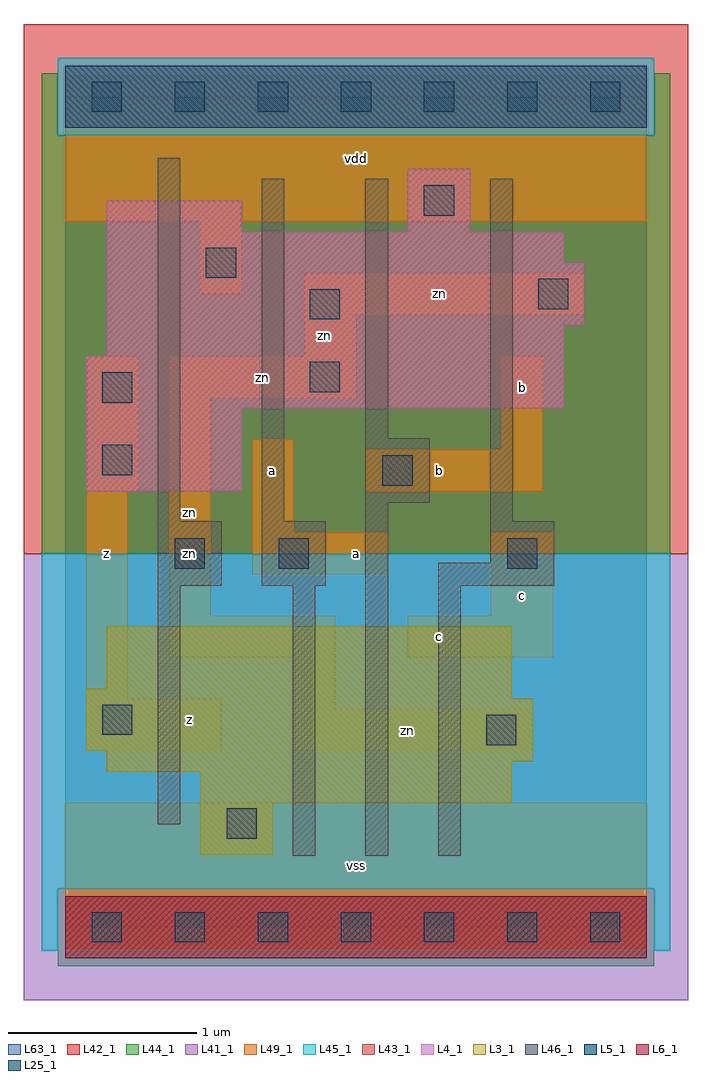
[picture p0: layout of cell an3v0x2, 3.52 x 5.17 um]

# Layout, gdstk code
import gdstk
lib = gdstk.Library(unit=1e-6, precision=1e-09)
def R(c, l, rs):  # rectangles x0, y0, x1, y1
    for r in rs: c.add(gdstk.rectangle(r[:2], r[2:], *l))
def A(c, l, x, y, w, h, nx, ny, dx, dy):  # array of equal rectangles
    R(c, l, [(x+i*dx, y+j*dy, x+i*dx+w, y+j*dy+h) for i in range(nx) for j in range(ny)])
L3_1 = (3, 1)
L4_1 = (4, 1)
L5_1 = (5, 1)
L6_1 = (6, 1)
L25_1 = (25, 1)
L41_1 = (41, 1)
L42_1 = (42, 1)
L43_1 = (43, 1)
L44_1 = (44, 1)
L45_1 = (45, 1)
L46_1 = (46, 1)
L49_1 = (49, 1)
L63_1 = (63, 1)

an3v0x2 = lib.new_cell('an3v0x2')
R(an3v0x2, L3_1, [(0.715,0.385,1.1,0.66), (0.715,0.66,2.365,0.825), (0.22,0.825,2.365,0.88), (0.22,0.88,2.475,0.935), (0.11,0.935,2.475,1.21), (0.11,1.21,2.365,1.265), (0.22,1.265,2.365,1.595)])
R(an3v0x2, L4_1, [(0.11,2.31,0.935,2.75), (0.11,2.75,2.64,3.025), (0.22,3.025,2.64,3.19), (0.22,3.19,2.75,3.52), (0.22,3.52,2.64,3.685), (0.22,3.685,0.935,3.85), (1.815,3.685,2.145,4.015)])
R(an3v0x2, L5_1, [(0,4.235,3.08,4.565)])
R(an3v0x2, L6_1, [(0,-0.165,3.08,0.165)])
A(an3v0x2, L25_1, 0.14, -0.08, 0.16, 0.16, 7, 2, 0.44, 4.4)
R(an3v0x2, L25_1, [(0.855,0.47,1.015,0.63), (2.23,0.965,2.39,1.125), (0.195,1.02,0.355,1.18), (0.58,1.9,0.74,2.06), (1.13,1.9,1.29,2.06), (2.34,1.9,2.5,2.06), (1.68,2.34,1.84,2.5), (0.195,2.395,0.355,2.555), (0.195,2.78,0.355,2.94), (1.295,2.835,1.455,2.995), (1.295,3.22,1.455,3.38), (2.505,3.275,2.665,3.435), (0.745,3.44,0.905,3.6), (1.9,3.77,2.06,3.93)])
R(an3v0x2, L41_1, [(-0.22,-0.385,3.3,1.98)])
R(an3v0x2, L42_1, [(-0.22,1.98,3.3,4.785)])
R(an3v0x2, L43_1, [(0,-0.165,3.08,0.165), (0.715,0.385,1.1,0.66), (0.715,0.66,2.365,0.825), (0.22,0.825,2.365,0.88), (0.22,0.88,2.475,0.935), (0.11,0.935,2.475,1.21), (0.11,1.21,2.365,1.265), (0.22,1.265,2.365,1.595), (0.11,2.31,0.935,2.75), (0.11,2.75,2.64,3.025), (0.22,3.025,2.64,3.19), (0.22,3.19,2.75,3.52), (0.22,3.52,2.64,3.685), (0.22,3.685,0.935,3.85), (1.815,3.685,2.145,4.015), (0,4.235,3.08,4.565)])
R(an3v0x2, L44_1, [(-0.04,-0.205,3.12,0.205), (-0.125,1.98,3.205,4.195), (-0.125,4.195,-0.04,4.525), (3.12,4.195,3.205,4.525)])
R(an3v0x2, L45_1, [(-0.125,-0.125,-0.04,0.205), (3.12,-0.125,3.205,0.205), (-0.125,0.205,3.205,1.98), (-0.04,4.195,3.12,4.605)])
R(an3v0x2, L46_1, [(1.205,0.38,1.325,1.81), (1.59,0.38,1.71,2.25), (1.975,0.38,2.095,1.81), (0.49,0.545,0.61,1.81), (0.49,1.81,0.83,2.15), (1.04,1.81,1.38,2.15), (1.975,1.81,2.59,1.93), (2.25,1.93,2.59,2.15), (0.49,2.15,0.61,4.075), (1.04,2.15,1.16,3.965), (2.25,2.15,2.37,3.965), (1.59,2.25,1.93,2.59), (1.59,2.59,1.71,3.965)])
R(an3v0x2, L49_1, [(0,-0.11,3.08,0.66), (0.11,0.935,0.825,1.21), (1.21,0.935,2.475,1.155), (1.21,1.155,1.43,1.43), (0.11,1.21,0.33,2.31), (0.55,1.43,1.43,1.65), (1.815,1.43,2.585,1.65), (0.55,1.65,0.77,2.805), (2.255,1.65,2.585,2.09), (0.99,1.87,1.705,2.09), (0.99,2.09,1.21,2.585), (0.11,2.31,0.385,3.025), (1.595,2.31,2.53,2.53), (2.31,2.53,2.53,3.025), (0.55,2.805,1.54,3.025), (1.265,3.025,1.54,3.245), (1.265,3.245,2.75,3.465), (0.715,3.355,0.935,3.74), (0,3.74,3.08,4.51)])
R(an3v0x2, L63_1, [(0,0,3.08,4.4)])
an3v0x2.add(gdstk.Label('zn', (0.66,1.98), layer=49, texttype=1))
an3v0x2.add(gdstk.Label('z', (0.22,1.98), layer=49, texttype=1))
an3v0x2.add(gdstk.Label('z', (0.66,1.1), layer=49, texttype=1))
an3v0x2.add(gdstk.Label('a', (1.1,2.42), layer=49, texttype=1))
an3v0x2.add(gdstk.Label('zn', (0.66,2.2), layer=49, texttype=1))
an3v0x2.add(gdstk.Label('vss', (1.54,0.33), layer=49, texttype=1))
an3v0x2.add(gdstk.Label('a', (1.54,1.98), layer=49, texttype=1))
an3v0x2.add(gdstk.Label('c', (1.98,1.54), layer=49, texttype=1))
an3v0x2.add(gdstk.Label('b', (1.98,2.42), layer=49, texttype=1))
an3v0x2.add(gdstk.Label('zn', (1.045,2.915), layer=49, texttype=1))
an3v0x2.add(gdstk.Label('zn', (1.375,3.135), layer=49, texttype=1))
an3v0x2.add(gdstk.Label('vdd', (1.54,4.07), layer=49, texttype=1))
an3v0x2.add(gdstk.Label('zn', (1.815,1.045), layer=49, texttype=1))
an3v0x2.add(gdstk.Label('c', (2.42,1.76), layer=49, texttype=1))
an3v0x2.add(gdstk.Label('b', (2.42,2.86), layer=49, texttype=1))
an3v0x2.add(gdstk.Label('zn', (1.98,3.355), layer=49, texttype=1))

lib.write_gds('an3v0x2.gds')
